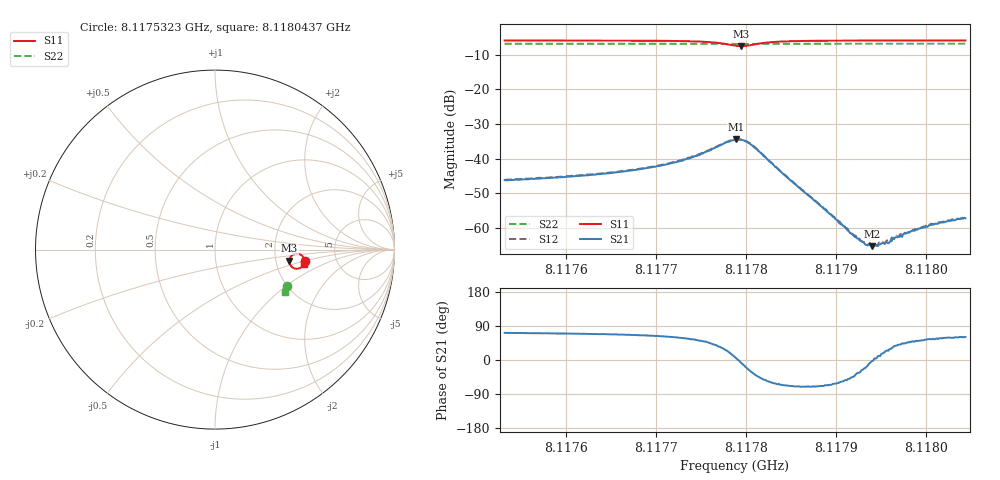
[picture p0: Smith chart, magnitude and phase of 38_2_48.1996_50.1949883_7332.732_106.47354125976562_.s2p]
#  HZ  S  RI  R  50.00
! Rohde & Schwarz Vector Network Analyzer
! Rohde-Schwarz,ZNB20-2Port,1311601062101988,3.16
! Created: UTC 3/20/2024, 11:37:45 AM
! freq[Hz]  re:S11  im:S11  re:S21  im:S21  re:S12  im:S12  re:S22  im:S22
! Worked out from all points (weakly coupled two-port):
!   401 points, 8.1175323 GHz to 8.1180437 GHz, reference 50 ohm
!   highest |S21| = -34.46 dB at 8.1177893 GHz (marker M1); lowest = -65.2 dB at 8.1179402 GHz (marker M2)
!   lowest |S11| = -7.6 dB at 8.1177944 GHz (marker M3), VSWR 2.44, Z = 119 - j17.6 ohm
!   |S11| at or under -10 dB: nowhere
!   |S22| runs from -7.0 to -6.9 dB; largest |S21 - S12| = 0.00061
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8.1175323e9  0.5013 -0.0609  0.00154 0.00465  0.00163 0.0047  0.4036 -0.204
8.11761796e9  0.499 -0.0711  0.00203 0.00529  0.0021 0.00541  0.401 -0.2095
8.1176576e9  0.4969 -0.0769  0.00247 0.00587  0.00255 0.00595  0.3997 -0.2122
8.11770363e9  0.4922 -0.0863  0.00355 0.00701  0.0037 0.00708  0.398 -0.2152
8.11773943e9  0.4818 -0.0979  0.00588 0.00854  0.00618 0.00858  0.3965 -0.2178
8.11777139e9  0.4492 -0.1063  0.0128 0.00875  0.0131 0.00878  0.3939 -0.2196
8.11778801e9  0.4175 -0.0821  0.0187 0.00247  0.0189 0.0023  0.3925 -0.2193
8.11778929e9  0.416 -0.0783  0.0189 0.00149  0.0191 0.00149  0.3924 -0.2192
8.11779441e9  0.4138 -0.0612  0.0185 -0.00219  0.0189 -0.00236  0.3923 -0.2186
8.11780847e9  0.4392 -0.0261  0.0121 -0.00872  0.0123 -0.00894  0.3934 -0.2184
8.11783276e9  0.4809 -0.031  0.00356 -0.00669  0.00358 -0.00698  0.3943 -0.2205
8.11787368e9  0.4963 -0.0522  0.000912 -0.0025  0.000884 -0.00252  0.3936 -0.224
8.11791843e9  0.4988 -0.0643  0.000572 -0.000569  0.0006 -0.00057  0.3921 -0.2271
8.11792738e9  0.4988 -0.0662  0.000568 -0.000333  0.000524 -0.000393  0.3918 -0.2277
8.11793377e9  0.499 -0.0673  0.000541 -0.000179  0.000583 -0.000182  0.3916 -0.2283
8.11794016e9  0.499 -0.0684  0.000547 -2.64e-05  0.000576 -1.69e-05  0.3914 -0.2285
8.117944e9  0.499 -0.0691  0.000567 3.44e-05  0.000564 5.75e-06  0.3912 -0.2288
8.11795934e9  0.4989 -0.0714  0.000546 0.000297  0.000583 0.000308  0.3907 -0.2299
8.11796573e9  0.4989 -0.0725  0.000583 0.000447  0.000598 0.000413  0.3905 -0.2303
8.11799258e9  0.4987 -0.076  0.000622 0.000761  0.000619 0.00079  0.3896 -0.2321
8.11801304e9  0.4986 -0.0785  0.000656 0.000941  0.000677 0.000997  0.3888 -0.2332
8.11804373e9  0.4983 -0.0819  0.000674 0.00121  0.000677 0.00127  0.3878 -0.2352
